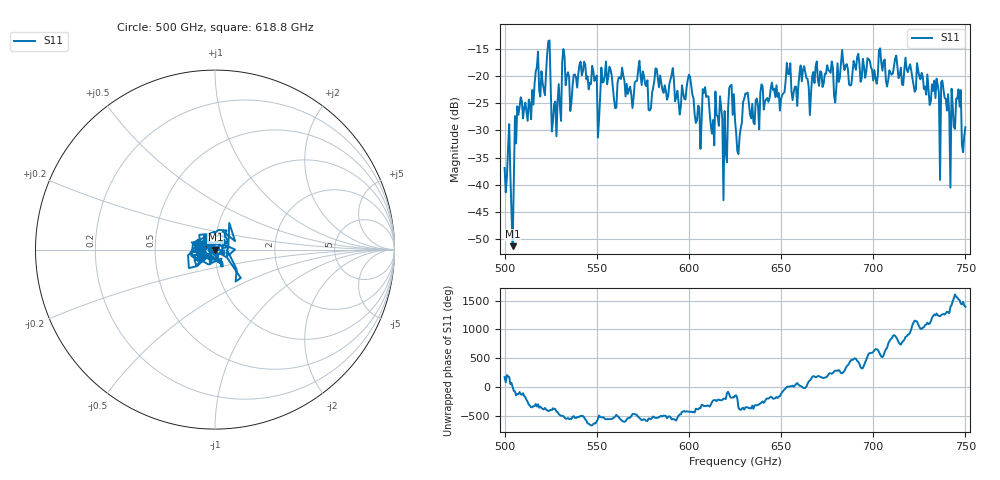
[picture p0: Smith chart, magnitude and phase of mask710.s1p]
!Created with skrf (http://scikit-rf.org).
# GHz S MA R 50.0
!freq magS11 angS11
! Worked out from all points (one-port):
!   401 points, 500 GHz to 750 GHz, reference 50 ohm
!   lowest |S11| = -51.4 dB at 504.4 GHz (marker M1), VSWR 1.01, Z = 50.3 - j0.0047 ohm
!   |S11| at or under -10 dB: start of sweep to end of sweep
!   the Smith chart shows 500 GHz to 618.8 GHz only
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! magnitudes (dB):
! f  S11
! 500 GHz  -36.9
! 504.4 GHz  -51.4
! 508.1 GHz  -25.6
! 523.8 GHz  -13.5
! 526.9 GHz  -25.2
! 531.2 GHz  -17.3
! 542.5 GHz  -19.1
! 550.6 GHz  -31.3
! 562.5 GHz  -20.2
! 573.8 GHz  -19.8
! 579.4 GHz  -25.9
! 590.6 GHz  -19.7
! 593.8 GHz  -22.7
! 600 GHz  -19.7
! 605.6 GHz  -25.7
! 608.8 GHz  -22.0
! 612.5 GHz  -30.6
! 616.9 GHz  -23.7
! 619.4 GHz  -26.4
! 622.5 GHz  -21.7
! 625 GHz  -28.1
! 656.2 GHz  -24.4
! 687.5 GHz  -21.7
! 718.8 GHz  -19.2
! 738.1 GHz  -22.5
! 743.1 GHz  -25.5
! 746.2 GHz  -22.4
! 750 GHz  -29.4
